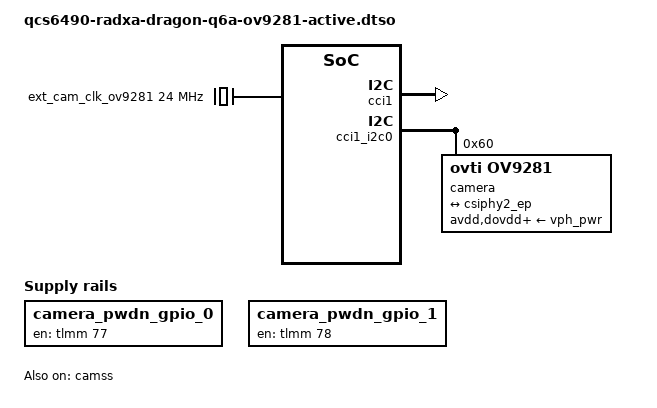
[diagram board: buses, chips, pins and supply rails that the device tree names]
// SPDX-License-Identifier: BSD-3-Clause
/*
 * Waveshare OV9281 on the Dragon Q6A - empirically-verified wiring.
 *
 * Determined on-device (chip id 0x9281 read at 0x60):
 *   - sensor I2C + data are on the CAM2 path: cci1_i2c0 / CSIPHY2 (port@2)
 *   - the module's POWER-EN is on gpio78 (driving it high powers the sensor;
 *     gpio77 alone did not). We assert BOTH gpio77 and gpio78 to be safe.
 *   - module self-clocks (15-pin Pi connector has no host MCLK pin), so a
 *     virtual fixed-clock is fine - no camcc MCLK needed.
 */

/dts-v1/;
/plugin/;

#include <dt-bindings/gpio/gpio.h>

/ {
	metadata {
		title = "Enable Waveshare OV9281 camera (cci1_i2c0 / csiphy2, power gpio78)";
		compatible = "radxa,dragon-q6a";
		category = "camera";
		exclusive = "cci1_i2c0";
		description = "Waveshare OV9281 mono global-shutter camera (verified wiring).";
	};
};

&{/} {
	ext_cam_clk_ov9281: ext-cam-clk-ov9281 {
		status = "okay";
		compatible = "fixed-clock";
		clock-frequency = <24000000>;
		clock-output-names = "ext_cam_clk_ov9281";
		#clock-cells = <0>;
	};

	/* Power-enable: assert both candidate lines; gpio78 is the verified one. */
	camera_pwdn_gpio_0: camera-pwdn-gpio-0 {
		status = "okay";
		compatible = "regulator-fixed";
		regulator-name = "camera_pwdn_gpio_0";
		regulator-always-on;
		enable-active-high;
		gpios = <&tlmm 77 GPIO_ACTIVE_HIGH>;
		pinctrl-names = "default";
		pinctrl-0 = <&cam_pwdn_gpio_0>;
	};

	camera_pwdn_gpio_1: camera-pwdn-gpio-1 {
		status = "okay";
		compatible = "regulator-fixed";
		regulator-name = "camera_pwdn_gpio_1";
		regulator-always-on;
		enable-active-high;
		gpios = <&tlmm 78 GPIO_ACTIVE_HIGH>;
		pinctrl-names = "default";
		pinctrl-0 = <&cam_pwdn_gpio_1>;
	};
};

&{/reserved-memory} {
	linux,cma {
		compatible = "shared-dma-pool";
		size = <0x0 0x8000000>;
		reusable;
		linux,cma-default;
	};
};

&camss {
	vdda-phy-supply = <&vreg_l10c_0p88>;
	vdda-pll-supply = <&vreg_l6b_1p2>;

	status = "okay";

	ports {
		#address-cells = <1>;
		#size-cells = <0>;

		/* cci1_i2c0 pairs with CSIPHY2 */
		port@2 {
			reg = <2>;

			csiphy2_ep: endpoint {
				clock-lanes = <7>;
				data-lanes = <0 1>;
				remote-endpoint = <&ov9281_ep>;
			};
		};
	};
};

&cci1 {
	status = "okay";
};

&cci1_i2c0 {
	#address-cells = <1>;
	#size-cells = <0>;
	status = "okay";

	camera@60 {
		compatible = "ovti,ov9281";
		reg = <0x60>;

		clocks = <&ext_cam_clk_ov9281>;

		avdd-supply = <&vph_pwr>;
		dovdd-supply = <&vph_pwr>;
		dvdd-supply = <&vph_pwr>;

		port {
			ov9281_ep: endpoint {
				link-frequencies = /bits/ 64 <400000000>;
				data-lanes = <1 2>;
				remote-endpoint = <&csiphy2_ep>;
			};
		};
	};
};

&tlmm {
	cam_pwdn_gpio_0: cam-pwdn-gpio-0-state {
		pins = "gpio77";
		function = "gpio";
		drive-strength = <2>;
		bias-pull-up;
	};

	cam_pwdn_gpio_1: cam-pwdn-gpio-1-state {
		pins = "gpio78";
		function = "gpio";
		drive-strength = <2>;
		bias-pull-up;
	};
};
